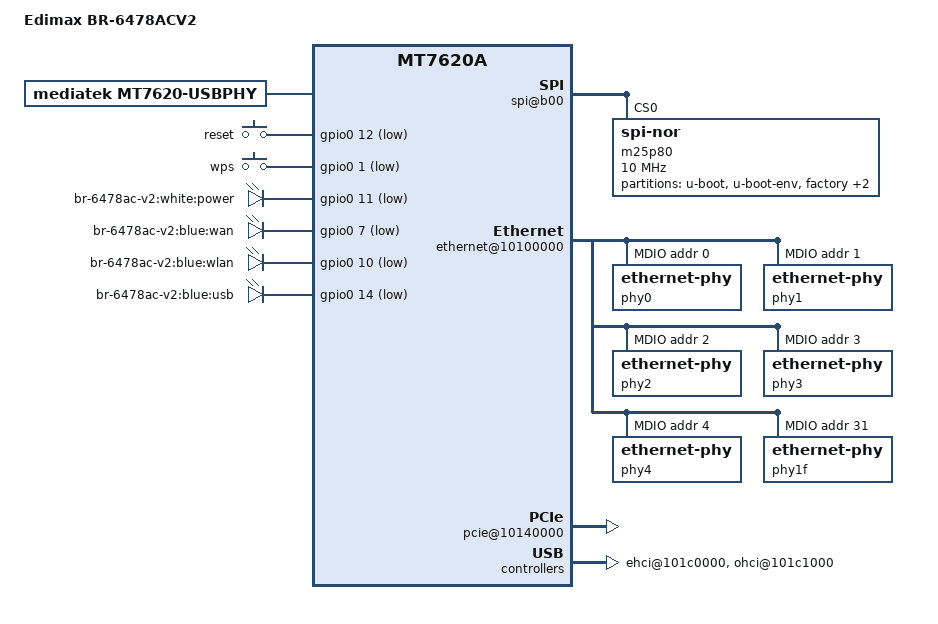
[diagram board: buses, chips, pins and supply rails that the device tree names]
/*
 * Device Tree file for the Edimax BR-6478AC V2
 * based on Linksys E1700
 *
 * Copyright (C) 2016 Rohan Murch <rohan.murch@gmail.com>
 * Copyright (C) 2016 Hans Ulli Kroll <ulli.kroll@googlemail.com>
 *
 * This file is licensed under the terms of the GNU General Public
 * License version 2.  This program is licensed "as is" without any
 * warranty of any kind, whether express or implied.
 */

/dts-v1/;

/include/ "mt7620a.dtsi"

/ {
	compatible = "edimax,br-6478ac-v2", "ralink,mt7620a-soc";
	model = "Edimax BR-6478ACV2";

	chosen {
			bootargs = "console=ttyS0,57600";
	};

	palmbus@10000000 {
		gpio1: gpio@638 {
			satus = "okay";
		};
		gpio2: gpio@660 {
			status = "okay";
		};
			spi@b00 {
			status = "okay";

			m25p80@0 {
				#address-cells = <1>;
				#size-cells = <1>;
				compatible = "jedec,spi-nor";
				reg = <0 0>;
				linux,modalias = "m25p80", "mx25l6405d";
				spi-max-frequency = <10000000>;

				partition@0 {
					label = "u-boot";
					reg = <0x0 0x30000>;
					read-only;
				};

				partition@30000 {
					label = "u-boot-env";
					reg = <0x30000 0x10000>;
					read-only;
				};

				factory: partition@40000 {
					label = "factory";
					reg = <0x40000 0x10000>;
					read-only;
				};

				partition@50000 {
					label = "cimage";
					reg = <0x50000 0x20000>;
					read-only;
				};

				partition@70000 {
	                                label = "firmware";
	                                reg = <0x00070000 0x00790000>;
				};
			};
		};
	};

	pinctrl {
		state_default: pinctrl0 {
			gpio {
				ralink,group = "i2c", "uartf", "wdt", "pa", "ephy", "nd_sd", "wled";
				ralink,function = "gpio";
			};
		};
	};

	usbphy: usbphy {
		compatible = "mediatek,mt7620-usbphy";
		#phy-cells = <1>;
		//    resets = <&rstctrl 22 &rstctrl 25>;
		resets = <&rstctrl 22 &rstctrl 19>;
		reset-names = "host", "device";
	};

	ethernet@10100000 {
		status = "okay";
		mtd-mac-address = <&factory 0x4>;
		pinctrl-names = "default";
		pinctrl-0 = <&rgmii1_pins &rgmii2_pins &mdio_pins>;

		port@5 {
			status = "okay";
			mediatek,fixed-link = <1000 1 1 1>;
			phy-mode = "rgmii";
		};

		mdio-bus {
			status = "okay";

			phy0: ethernet-phy@0 {
				reg = <0>;
				phy-mode = "rgmii";
			};

			phy1: ethernet-phy@1 {
				reg = <1>;
				phy-mode = "rgmii";
			};

			phy2: ethernet-phy@2 {
				reg = <2>;
				phy-mode = "rgmii";
			};

			phy3: ethernet-phy@3 {
				reg = <3>;
				phy-mode = "rgmii";
			};

			phy4: ethernet-phy@4 {
				reg = <4>;
				phy-mode = "rgmii";
			};

			phy1f: ethernet-phy@1f {
				reg = <0x1f>;
				phy-mode = "rgmii";
			};
		};
	};

	gsw@10110000 {
		mediatek,port4 = "gmac";
		mediatek,mt7530 = <1>;
	};

	wmac@10180000 {
		ralink,mtd-eeprom = <&factory 0>;
	};

	gpio-keys-polled {
		compatible = "gpio-keys-polled";
		#address-cells = <1>;
		#size-cells = <0>;
		poll-interval = <20>;

		reset {
			label = "reset";
			gpios = <&gpio0 12 1>;
			linux,code = <0x101>;
		};

		wps {
			label = "wps";
			gpios = <&gpio0 1 1>;
			linux,code = <0x100>;
		};
	};

	gpio-leds {
		compatible = "gpio-leds";

		power {
			label = "br-6478ac-v2:white:power";
			gpios = <&gpio0 11 1>;
		};
		wan {
			label = "br-6478ac-v2:blue:wan";
			gpios = <&gpio0 7 1>;
		};
		wlan {
            		label = "br-6478ac-v2:blue:wlan";
			gpios = <&gpio0 10 1>;
		};
		usb {
			label = "br-6478ac-v2:blue:usb";
			gpios = <&gpio0 14 1>;
		};
	};

	pcie@10140000 {
		status = "okay";
		pcie-bridge {
			mt76@0,0 {
				reg = <0x0000 0 0 0 0>;
				device_type = "pci";
				mediatek,mtd-eeprom = <&factory 0x8000>;
				mediatek,2ghz = <0>;
			};
		};

	};

	ehci@101c0000 {
		status = "okay";
		interrupt-parent = <&intc>;
		interrupts = <18>;
	};

	ohci@101c1000 {
		status = "okay";
		interrupt-parent = <&intc>;
		interrupts = <18>;
	};
};


